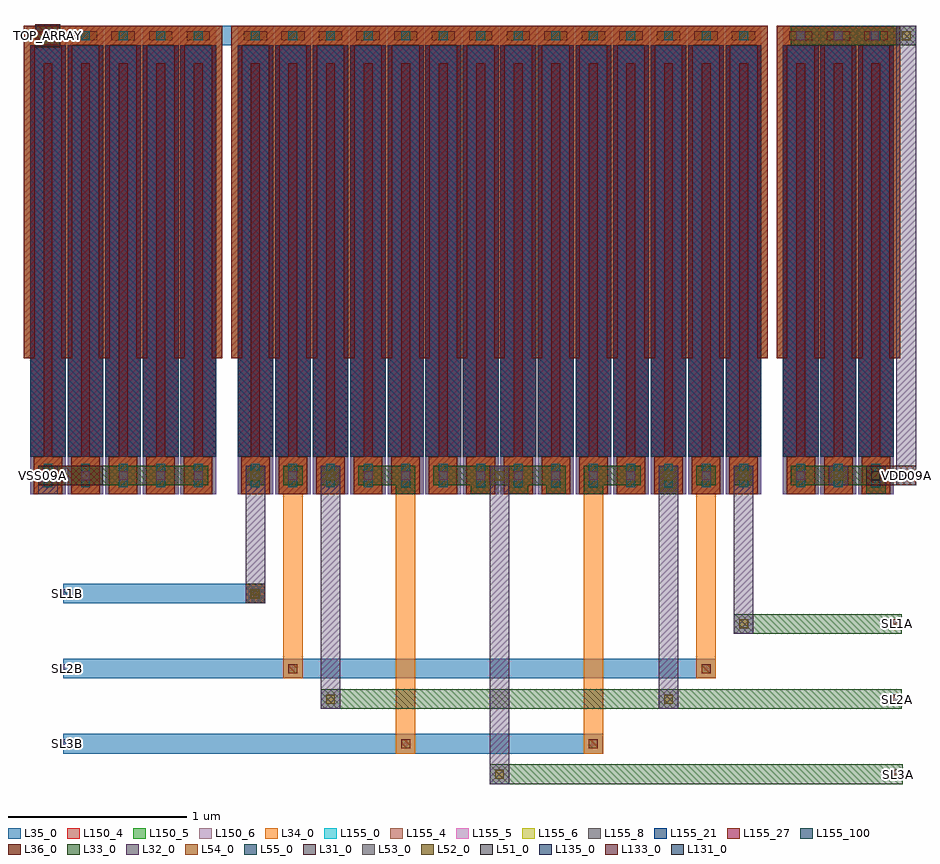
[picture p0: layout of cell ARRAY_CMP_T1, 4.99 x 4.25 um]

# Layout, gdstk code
from math import pi, radians
import gdstk
lib = gdstk.Library(unit=1e-6, precision=1e-09)
def R(c, l, rs):  # rectangles x0, y0, x1, y1
    for r in rs: c.add(gdstk.rectangle(r[:2], r[2:], *l))
def A(c, l, x, y, w, h, nx, ny, dx, dy):  # array of equal rectangles
    R(c, l, [(x+i*dx, y+j*dy, x+i*dx+w, y+j*dy+h) for i in range(nx) for j in range(ny)])
L31_0 = (31, 0)
L32_0 = (32, 0)
L33_0 = (33, 0)
L34_0 = (34, 0)
L35_0 = (35, 0)
L36_0 = (36, 0)
L51_0 = (51, 0)
L52_0 = (52, 0)
L53_0 = (53, 0)
L54_0 = (54, 0)
L55_0 = (55, 0)
L131_0 = (131, 0)
L133_0 = (133, 0)
L135_0 = (135, 0)
L150_4 = (150, 4)
L150_5 = (150, 5)
L150_6 = (150, 6)
L155_0 = (155, 0)
L155_4 = (155, 4)
L155_5 = (155, 5)
L155_6 = (155, 6)
L155_8 = (155, 8)
L155_21 = (155, 21)
L155_27 = (155, 27)
L155_100 = (155, 100)

m5_m4_cdns_620232233777 = lib.new_cell('M5_M4_CDNS_620232233777')
R(m5_m4_cdns_620232233777, L34_0, [(-0.07,-0.105,0.07,0.105)])
R(m5_m4_cdns_620232233777, L35_0, [(-0.07,-0.105,0.07,0.105)])
R(m5_m4_cdns_620232233777, L54_0, [(-0.025,-0.065,0.025,0.065)])

m6_m5_cdns_620232233778 = lib.new_cell('M6_M5_CDNS_620232233778')
R(m6_m5_cdns_620232233778, L35_0, [(-0.07,-0.105,0.07,0.105)])
R(m6_m5_cdns_620232233778, L36_0, [(-0.055,-0.105,0.055,0.105)])
R(m6_m5_cdns_620232233778, L55_0, [(-0.025,-0.065,0.025,0.065)])

m5_m4_cdns_620232233779 = lib.new_cell('M5_M4_CDNS_620232233779')
R(m5_m4_cdns_620232233779, L34_0, [(-0.095,-0.055,0.095,0.055)])
R(m5_m4_cdns_620232233779, L35_0, [(-0.12,-0.055,0.12,0.055)])
R(m5_m4_cdns_620232233779, L54_0, [(-0.065,-0.025,0.065,0.025)])

m6_m5_cdns_6202322337710 = lib.new_cell('M6_M5_CDNS_6202322337710')
R(m6_m5_cdns_6202322337710, L35_0, [(-0.055,-0.055,0.055,0.055)])
R(m6_m5_cdns_6202322337710, L36_0, [(-0.055,-0.055,0.055,0.055)])
R(m6_m5_cdns_6202322337710, L55_0, [(-0.025,-0.025,0.025,0.025)])

cu1f = lib.new_cell('CU1F')
R(cu1f, L34_0, [(0.02,0,0.18,0.21), (-0.035,2.51,0.235,2.62)])
R(cu1f, L35_0, [(0.02,0,0.18,0.21), (-0.035,2.51,0.235,2.62)])
R(cu1f, L36_0, [(0.02,0,0.18,0.21), (-0.035,2.51,0.235,2.62)])
R(cu1f, L150_4, [(0,0,0.2,2.62)])
R(cu1f, L150_5, [(0,0,0.2,2.62)])
R(cu1f, L150_6, [(0,0,0.2,2.62)])
R(cu1f, L155_0, [(0,0.21,0.2,2.51)])
R(cu1f, L155_4, [(0,0.21,0.2,2.51)])
R(cu1f, L155_5, [(0,0.21,0.2,2.51)])
R(cu1f, L155_6, [(0,0.21,0.2,2.51)])
R(cu1f, L155_8, [(0,0.21,0.2,2.51)])
R(cu1f, L155_21, [(0,0.21,0.2,2.51)])
R(cu1f, L155_27, [(0,0.21,0.2,2.51)])
R(cu1f, L155_100, [(0,0.21,0.2,2.51)])
cu1f.add(gdstk.FlexPath([(0.205,2.59),(0.205,0.76)], 0.06, ends=(0.03, 0), simple_path=True, layer=34, datatype=0))  # L34_0
cu1f.add(gdstk.FlexPath([(0.1,2.41),(0.1,0)], 0.05, ends="flush", simple_path=True, layer=34, datatype=0))  # L34_0
cu1f.add(gdstk.FlexPath([(-0.005,2.59),(-0.005,0.76)], 0.06, ends=(0.03, 0), simple_path=True, layer=34, datatype=0))  # L34_0
cu1f.add(gdstk.FlexPath([(0.205,0.76),(0.205,2.59)], 0.06, ends=(0, 0.03), simple_path=True, layer=35, datatype=0))  # L35_0
cu1f.add(gdstk.FlexPath([(0.1,2.41),(0.1,0)], 0.05, ends="flush", simple_path=True, layer=35, datatype=0))  # L35_0
cu1f.add(gdstk.FlexPath([(-0.005,0.76),(-0.005,2.59)], 0.06, ends=(0, 0.03), simple_path=True, layer=35, datatype=0))  # L35_0
cu1f.add(gdstk.FlexPath([(0.205,0.76),(0.205,2.59)], 0.06, ends=(0, 0.03), simple_path=True, layer=36, datatype=0))  # L36_0
cu1f.add(gdstk.FlexPath([(0.1,2.41),(0.1,0)], 0.05, ends="flush", simple_path=True, layer=36, datatype=0))  # L36_0
cu1f.add(gdstk.FlexPath([(-0.005,0.76),(-0.005,2.59)], 0.06, ends=(0, 0.03), simple_path=True, layer=36, datatype=0))  # L36_0
cu1f.add(gdstk.Reference(m5_m4_cdns_620232233777, (0.1,0.105), rotation=pi, x_reflection=True))
cu1f.add(gdstk.Reference(m6_m5_cdns_620232233778, (0.1,0.105), rotation=pi, x_reflection=True))
cu1f.add(gdstk.Reference(m5_m4_cdns_620232233779, (0.1,2.565)))
cu1f.add(gdstk.Reference(m6_m5_cdns_6202322337710, (0.1,2.565)))

m2_m1_cdns_620232233770 = lib.new_cell('M2_M1_CDNS_620232233770')
R(m2_m1_cdns_620232233770, L31_0, [(-0.055,-0.055,0.055,0.055)])
R(m2_m1_cdns_620232233770, L32_0, [(-0.055,-0.055,0.055,0.055)])
R(m2_m1_cdns_620232233770, L51_0, [(-0.025,-0.025,0.025,0.025)])

m3_m2_cdns_620232233771 = lib.new_cell('M3_M2_CDNS_620232233771')
R(m3_m2_cdns_620232233771, L32_0, [(-0.055,-0.055,0.055,0.055)])
R(m3_m2_cdns_620232233771, L33_0, [(-0.055,-0.055,0.055,0.055)])
R(m3_m2_cdns_620232233771, L52_0, [(-0.025,-0.025,0.025,0.025)])

m4_m3_cdns_620232233772 = lib.new_cell('M4_M3_CDNS_620232233772')
R(m4_m3_cdns_620232233772, L33_0, [(-0.055,-0.055,0.055,0.055)])
R(m4_m3_cdns_620232233772, L34_0, [(-0.055,-0.055,0.055,0.055)])
R(m4_m3_cdns_620232233772, L53_0, [(-0.025,-0.025,0.025,0.025)])

m4_m3_cdns_620232233773 = lib.new_cell('M4_M3_CDNS_620232233773')
R(m4_m3_cdns_620232233773, L33_0, [(-0.07,-0.065,0.07,0.065)])
R(m4_m3_cdns_620232233773, L34_0, [(-0.055,-0.055,0.055,0.055)])
R(m4_m3_cdns_620232233773, L53_0, [(-0.025,-0.025,0.025,0.025)])

m3_m2_cdns_620232233774 = lib.new_cell('M3_M2_CDNS_620232233774')
R(m3_m2_cdns_620232233774, L32_0, [(-0.065,-0.06,0.065,0.06)])
R(m3_m2_cdns_620232233774, L33_0, [(-0.07,-0.065,0.07,0.065)])
R(m3_m2_cdns_620232233774, L52_0, [(-0.025,-0.025,0.025,0.025)])

m2_m1_cdns_620232233775 = lib.new_cell('M2_M1_CDNS_620232233775')
R(m2_m1_cdns_620232233775, L31_0, [(-0.055,-0.055,0.055,0.055)])
R(m2_m1_cdns_620232233775, L32_0, [(-0.065,-0.06,0.065,0.06)])
R(m2_m1_cdns_620232233775, L51_0, [(-0.025,-0.025,0.025,0.025)])

m5_m4_cdns_620232233776 = lib.new_cell('M5_M4_CDNS_620232233776')
R(m5_m4_cdns_620232233776, L34_0, [(-0.055,-0.055,0.055,0.055)])
R(m5_m4_cdns_620232233776, L35_0, [(-0.055,-0.055,0.055,0.055)])
R(m5_m4_cdns_620232233776, L54_0, [(-0.025,-0.025,0.025,0.025)])

array_cmp_t1 = lib.new_cell('ARRAY_CMP_T1')
R(array_cmp_t1, L31_0, [(-0.165,0.05,0.195,0.16), (4.465,0.05,4.745,0.16), (-0.18,2.5,-0.04,2.63)])
R(array_cmp_t1, L32_0, [(2.36,-1.62,2.47,0.16), (1.415,-1.2,1.525,0.16), (3.305,-1.2,3.415,0.16), (3.725,-0.78,3.835,0.16), (0.995,-0.61,1.105,0.16), (-0.165,0,-0.055,0.16), (4.465,0.05,4.575,0.16), (4.635,0.05,4.745,2.62)])
A(array_cmp_t1, L33_0, 2.255, 0, 0.11, 0.16, 4, 1, 0.21, 0)
R(array_cmp_t1, L33_0, [(2.36,-1.62,4.67,-1.51), (1.415,-1.2,4.665,-1.09), (3.725,-0.78,4.665,-0.67), (1.835,0,1.945,0.16), (3.305,0,3.415,0.16), (4.465,0,4.575,0.16), (-0.165,0.05,0.785,0.16), (1.625,0.05,1.945,0.16), (2.045,0.05,2.785,0.16), (2.885,0.05,3.205,0.16), (4.045,0.05,4.575,0.16), (4.045,2.51,4.745,2.62)])
R(array_cmp_t1, L34_0, [(1.835,-1.45,1.945,0.16), (2.885,-1.45,2.995,0.16), (1.205,-1.03,1.315,0.16), (3.515,-1.03,3.625,0.16)])
R(array_cmp_t1, L35_0, [(-0.025,-1.45,2.995,-1.34), (-0.025,-1.03,3.625,-0.92), (-0.025,-0.61,1.105,-0.5), (-0.18,2.51,1.125,2.62)])
R(array_cmp_t1, L131_0, [(-0.165,0.08,-0.115,0.13), (4.665,0.08,4.715,0.13), (-0.135,2.54,-0.085,2.59)])
R(array_cmp_t1, L133_0, [(4.62,-1.59,4.67,-1.54), (4.615,-1.17,4.665,-1.12), (4.615,-0.75,4.665,-0.7)])
A(array_cmp_t1, L135_0, -0.025, -1.42, 0.05, 0.05, 1, 3, 0, 0.42)
array_cmp_t1.add(gdstk.Reference(cu1f, (4,0)))
array_cmp_t1.add(gdstk.Reference(cu1f, (4.21,0)))
array_cmp_t1.add(gdstk.Reference(cu1f, (0.42,0)))
array_cmp_t1.add(gdstk.Reference(cu1f, (0.63,0)))
array_cmp_t1.add(gdstk.Reference(cu1f, (4.42,0)))
array_cmp_t1.add(gdstk.Reference(cu1f, (0.21,0)))
array_cmp_t1.add(gdstk.Reference(cu1f, (0,0)))
array_cmp_t1.add(gdstk.Reference(cu1f, (-0.21,0)))
array_cmp_t1.add(gdstk.Reference(cu1f, (3.68,0)))
array_cmp_t1.add(gdstk.Reference(cu1f, (3.47,0)))
array_cmp_t1.add(gdstk.Reference(cu1f, (3.26,0)))
array_cmp_t1.add(gdstk.Reference(cu1f, (3.05,0)))
array_cmp_t1.add(gdstk.Reference(cu1f, (2.84,0)))
array_cmp_t1.add(gdstk.Reference(cu1f, (2.63,0)))
array_cmp_t1.add(gdstk.Reference(cu1f, (2.42,0)))
array_cmp_t1.add(gdstk.Reference(cu1f, (2.21,0)))
array_cmp_t1.add(gdstk.Reference(cu1f, (2,0)))
array_cmp_t1.add(gdstk.Reference(cu1f, (1.79,0)))
array_cmp_t1.add(gdstk.Reference(cu1f, (1.58,0)))
array_cmp_t1.add(gdstk.Reference(cu1f, (1.37,0)))
array_cmp_t1.add(gdstk.Reference(cu1f, (1.16,0)))
array_cmp_t1.add(gdstk.Reference(cu1f, (0.95,0)))
array_cmp_t1.add(gdstk.Reference(m2_m1_cdns_620232233770, (4.69,0.105)))
array_cmp_t1.add(gdstk.Reference(m2_m1_cdns_620232233770, (-0.11,0.105)))
array_cmp_t1.add(gdstk.Reference(m2_m1_cdns_620232233770, (4.52,0.105)))
array_cmp_t1.add(gdstk.Reference(m3_m2_cdns_620232233771, (3.78,-0.725)))
array_cmp_t1.add(gdstk.Reference(m3_m2_cdns_620232233771, (1.47,-1.145)))
array_cmp_t1.add(gdstk.Reference(m3_m2_cdns_620232233771, (4.69,2.565)))
array_cmp_t1.add(gdstk.Reference(m3_m2_cdns_620232233771, (1.05,0.105)))
array_cmp_t1.add(gdstk.Reference(m3_m2_cdns_620232233771, (1.47,0.105)))
array_cmp_t1.add(gdstk.Reference(m3_m2_cdns_620232233771, (2.415,0.105)))
array_cmp_t1.add(gdstk.Reference(m3_m2_cdns_620232233771, (3.78,0.105)))
array_cmp_t1.add(gdstk.Reference(m3_m2_cdns_620232233771, (3.36,0.105)))
array_cmp_t1.add(gdstk.Reference(m3_m2_cdns_620232233771, (4.52,0.105)))
array_cmp_t1.add(gdstk.Reference(m3_m2_cdns_620232233771, (-0.11,0.105)))
array_cmp_t1.add(gdstk.Reference(m3_m2_cdns_620232233771, (4.31,0.105)))
array_cmp_t1.add(gdstk.Reference(m3_m2_cdns_620232233771, (2.415,-1.565)))
array_cmp_t1.add(gdstk.Reference(m3_m2_cdns_620232233771, (3.36,-1.145)))
array_cmp_t1.add(gdstk.Reference(m3_m2_cdns_620232233771, (1.05,-0.555)))
array_cmp_t1.add(gdstk.Reference(m4_m3_cdns_620232233772, (1.68,0.105)))
array_cmp_t1.add(gdstk.Reference(m4_m3_cdns_620232233772, (1.05,-0.555)))
array_cmp_t1.add(gdstk.Reference(m4_m3_cdns_620232233772, (4.51,2.565), rotation=pi, x_reflection=True))
array_cmp_t1.add(gdstk.Reference(m4_m3_cdns_620232233772, (4.1,2.565), rotation=pi, x_reflection=True))
array_cmp_t1.add(gdstk.Reference(m4_m3_cdns_620232233772, (1.05,0.105)))
array_cmp_t1.add(gdstk.Reference(m4_m3_cdns_620232233772, (1.26,0.105)))
array_cmp_t1.add(gdstk.Reference(m4_m3_cdns_620232233772, (1.47,0.105)))
array_cmp_t1.add(gdstk.Reference(m4_m3_cdns_620232233772, (1.89,0.105)))
array_cmp_t1.add(gdstk.Reference(m4_m3_cdns_620232233772, (2.1,0.105)))
array_cmp_t1.add(gdstk.Reference(m4_m3_cdns_620232233772, (2.31,0.105)))
array_cmp_t1.add(gdstk.Reference(m4_m3_cdns_620232233772, (2.52,0.105)))
array_cmp_t1.add(gdstk.Reference(m4_m3_cdns_620232233772, (2.73,0.105)))
array_cmp_t1.add(gdstk.Reference(m4_m3_cdns_620232233772, (2.94,0.105)))
array_cmp_t1.add(gdstk.Reference(m4_m3_cdns_620232233772, (3.15,0.105)))
array_cmp_t1.add(gdstk.Reference(m4_m3_cdns_620232233772, (3.36,0.105)))
array_cmp_t1.add(gdstk.Reference(m4_m3_cdns_620232233772, (3.57,0.105)))
array_cmp_t1.add(gdstk.Reference(m4_m3_cdns_620232233772, (3.78,0.105)))
array_cmp_t1.add(gdstk.Reference(m4_m3_cdns_620232233772, (4.52,0.105)))
array_cmp_t1.add(gdstk.Reference(m4_m3_cdns_620232233772, (0.1,0.105)))
array_cmp_t1.add(gdstk.Reference(m4_m3_cdns_620232233772, (0.31,0.105)))
array_cmp_t1.add(gdstk.Reference(m4_m3_cdns_620232233772, (-0.11,0.105)))
array_cmp_t1.add(gdstk.Reference(m4_m3_cdns_620232233772, (0.73,0.105)))
array_cmp_t1.add(gdstk.Reference(m4_m3_cdns_620232233772, (0.52,0.105)))
array_cmp_t1.add(gdstk.Reference(m4_m3_cdns_620232233772, (4.1,0.105)))
array_cmp_t1.add(gdstk.Reference(m4_m3_cdns_620232233772, (4.31,0.105)))
array_cmp_t1.add(gdstk.Reference(m4_m3_cdns_620232233772, (4.31,2.565), rotation=pi, x_reflection=True))
array_cmp_t1.add(gdstk.Reference(m4_m3_cdns_620232233773, (-0.11,2.565)))
array_cmp_t1.add(gdstk.Reference(m3_m2_cdns_620232233774, (-0.11,2.565)))
array_cmp_t1.add(gdstk.Reference(m2_m1_cdns_620232233775, (-0.11,2.565)))
array_cmp_t1.add(gdstk.Reference(m5_m4_cdns_620232233776, (1.05,-0.555)))
array_cmp_t1.add(gdstk.Reference(m5_m4_cdns_620232233776, (1.89,-1.395)))
array_cmp_t1.add(gdstk.Reference(m5_m4_cdns_620232233776, (3.57,-0.975)))
array_cmp_t1.add(gdstk.Reference(m5_m4_cdns_620232233776, (1.26,-0.975)))
array_cmp_t1.add(gdstk.Reference(m5_m4_cdns_620232233776, (2.94,-1.395)))
array_cmp_t1.add(gdstk.Label('SL3B', (0,-1.395), layer=135, texttype=0))
array_cmp_t1.add(gdstk.Label('SL2B', (0,-0.975), layer=135, texttype=0))
array_cmp_t1.add(gdstk.Label('SL1B', (0,-0.555), layer=135, texttype=0))
array_cmp_t1.add(gdstk.Label('SL1A', (4.64,-0.725), layer=133, texttype=0))
array_cmp_t1.add(gdstk.Label('SL2A', (4.64,-1.145), layer=133, texttype=0))
array_cmp_t1.add(gdstk.Label('SL3A', (4.645,-1.565), layer=133, texttype=0))
array_cmp_t1.add(gdstk.Label('VDD09A', (4.69,0.105), layer=131, texttype=0))
array_cmp_t1.add(gdstk.Label('VSS09A', (-0.14,0.105), layer=131, texttype=0))
array_cmp_t1.add(gdstk.Label('TOP_ARRAY', (-0.112,2.565), layer=131, texttype=0))

lib.write_gds('ARRAY_CMP_T1.gds')
